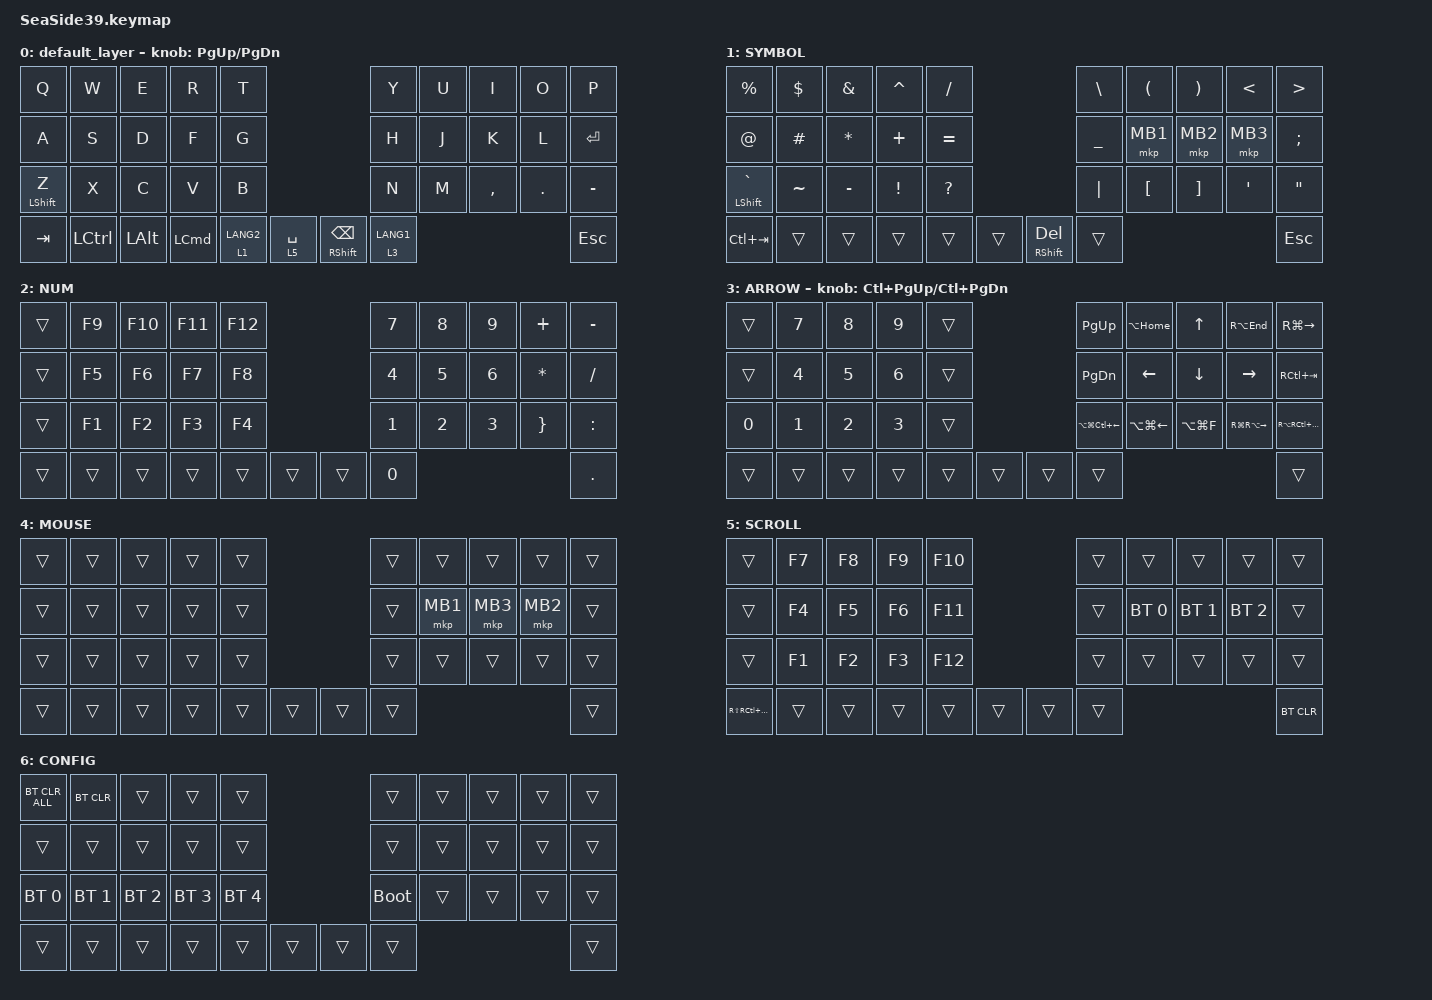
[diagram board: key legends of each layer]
#include <behaviors.dtsi>
#include <dt-bindings/zmk/bt.h>
#include <dt-bindings/zmk/keys.h>
#include <dt-bindings/zmk/pointing.h>

#define MOUSE 4
#define SCROLL 5
#define NUM 6

&mt {
    flavor = "balanced";
    quick-tap-ms = <300>;
};

&lt {
    flavor = "balanced";
    quick-tap-ms = <300>;
};

/ {
    combos { compatible = "zmk,combos"; };

    macros {
        to_layer_0: to_layer_0 {
            compatible = "zmk,behavior-macro-one-param";
            #binding-cells = <1>;
            bindings = <&to 0 &macro_param_1to1 &kp MACRO_PLACEHOLDER>;
            label = "TO_LAYER_0";
        };
    };

    behaviors {
        lt_to_layer_0: lt_to_layer_0 {
            compatible = "zmk,behavior-hold-tap";
            label = "LAYER_TAP_TO_0";
            bindings = <&mo>, <&to_layer_0>;

            #binding-cells = <2>;
            tapping-term-ms = <200>;
        };
    };

    keymap {
        compatible = "zmk,keymap";

        default_layer {
            bindings = <
&kp Q             &kp W      &kp E         &kp R             &kp T                                                    &kp Y        &kp U  &kp I      &kp O       &kp P
&kp A             &kp S      &kp D         &kp F             &kp G                                                    &kp H        &kp J  &kp K      &kp L       &kp ENTER
&mt LEFT_SHIFT Z  &kp X      &kp C         &kp V             &kp B                                                    &kp N        &kp M  &kp COMMA  &kp PERIOD  &kp MINUS
&kp TAB           &kp LCTRL  &kp LEFT_ALT  &kp LEFT_COMMAND  &lt 1 LANG2  &lt 5 SPACE      &mt RIGHT_SHIFT BACKSPACE  &lt 3 LANG1                                &kp ESCAPE
            >;

            sensor-bindings = <&inc_dec_kp PG_UP PAGE_DOWN>;
        };

        SYMBOL {
            bindings = <
&kp PRCNT             &kp DOLLAR  &kp AMPERSAND  &kp CARET        &kp FSLH                                          &kp BSLH        &kp LEFT_PARENTHESIS  &kp RIGHT_PARENTHESIS  &kp LESS_THAN  &kp GREATER_THAN
&kp AT                &kp HASH    &kp ASTERISK   &kp PLUS         &kp EQUAL                                         &kp UNDERSCORE  &mkp MB1              &mkp MB2               &mkp MB3       &kp SEMICOLON
&mt LEFT_SHIFT GRAVE  &kp TILDE   &kp MINUS      &kp EXCLAMATION  &kp QUESTION                                      &kp PIPE        &kp LBKT              &kp RBKT               &kp SQT        &kp DOUBLE_QUOTES
&kp LC(TAB)           &trans      &trans         &trans           &trans        &trans      &mt RIGHT_SHIFT DELETE  &trans                                                                      &kp ESC
            >;
        };

        NUM {
            bindings = <
&trans  &kp F9  &kp F10  &kp F11  &kp F12                      &kp N7        &kp NUMBER_8  &kp NUMBER_9  &kp PLUS         &kp MINUS
&trans  &kp F5  &kp F6   &kp F7   &kp F8                       &kp NUMBER_4  &kp NUMBER_5  &kp NUMBER_6  &kp ASTERISK     &kp SLASH
&trans  &kp F1  &kp F2   &kp F3   &kp F4                       &kp NUMBER_1  &kp NUMBER_2  &kp NUMBER_3  &kp RIGHT_BRACE  &kp COLON
&trans  &trans  &trans   &trans   &trans   &trans      &trans  &kp NUMBER_0                                               &kp PERIOD
            >;
        };

        ARROW {
            bindings = <
&trans        &kp NUMBER_7  &kp NUMBER_8  &kp NUMBER_9  &trans                      &kp PAGE_UP                 &kp LA(HOME)            &kp UP_ARROW    &kp RA(END)              &kp RG(RIGHT_ARROW)
&trans        &kp NUMBER_4  &kp NUMBER_5  &kp NUMBER_6  &trans                      &kp PAGE_DOWN               &kp LEFT_ARROW          &kp DOWN_ARROW  &kp RIGHT_ARROW          &kp RC(TAB)
&kp NUMBER_0  &kp NUMBER_1  &kp NUMBER_2  &kp NUMBER_3  &trans                      &kp LA(LG(LC(LEFT_ARROW)))  &kp LA(LG(LEFT_ARROW))  &kp LA(LG(F))   &kp RG(RA(RIGHT_ARROW))  &kp RA(RC(RG(RIGHT_ARROW)))
&trans        &trans        &trans        &trans        &trans  &trans      &trans  &trans                                                                                       &trans
            >;

            sensor-bindings = <&inc_dec_kp LC(PAGE_UP) LC(PAGE_DOWN)>;
        };

        MOUSE {
            bindings = <
&trans  &trans  &trans  &trans  &trans                      &trans  &trans    &trans    &trans    &trans
&trans  &trans  &trans  &trans  &trans                      &trans  &mkp MB1  &mkp MB3  &mkp MB2  &trans
&trans  &trans  &trans  &trans  &trans                      &trans  &trans    &trans    &trans    &trans
&trans  &trans  &trans  &trans  &trans  &trans      &trans  &trans                                &trans
            >;
        };

        SCROLL {
            bindings = <
&trans                    &kp F7  &kp F8  &kp F9  &kp F10                      &trans  &trans        &trans        &trans        &trans
&trans                    &kp F4  &kp F5  &kp F6  &kp F11                      &trans  &bt BT_SEL 0  &bt BT_SEL 1  &bt BT_SEL 2  &trans
&trans                    &kp F1  &kp F2  &kp F3  &kp F12                      &trans  &trans        &trans        &trans        &trans
&kp RS(RC(RG(NUMBER_4)))  &trans  &trans  &trans  &trans   &trans      &trans  &trans                                            &bt BT_CLR
            >;
        };

        CONFIG {
            bindings = <
&bt BT_CLR_ALL  &bt BT_CLR    &trans        &trans        &trans                            &trans       &trans  &trans  &trans  &trans
&trans          &trans        &trans        &trans        &trans                            &trans       &trans  &trans  &trans  &trans
&bt BT_SEL 0    &bt BT_SEL 1  &bt BT_SEL 2  &bt BT_SEL 3  &bt BT_SEL 4                      &bootloader  &trans  &trans  &trans  &trans
&trans          &trans        &trans        &trans        &trans        &trans      &trans  &trans                               &trans
            >;
        };
    };
};
